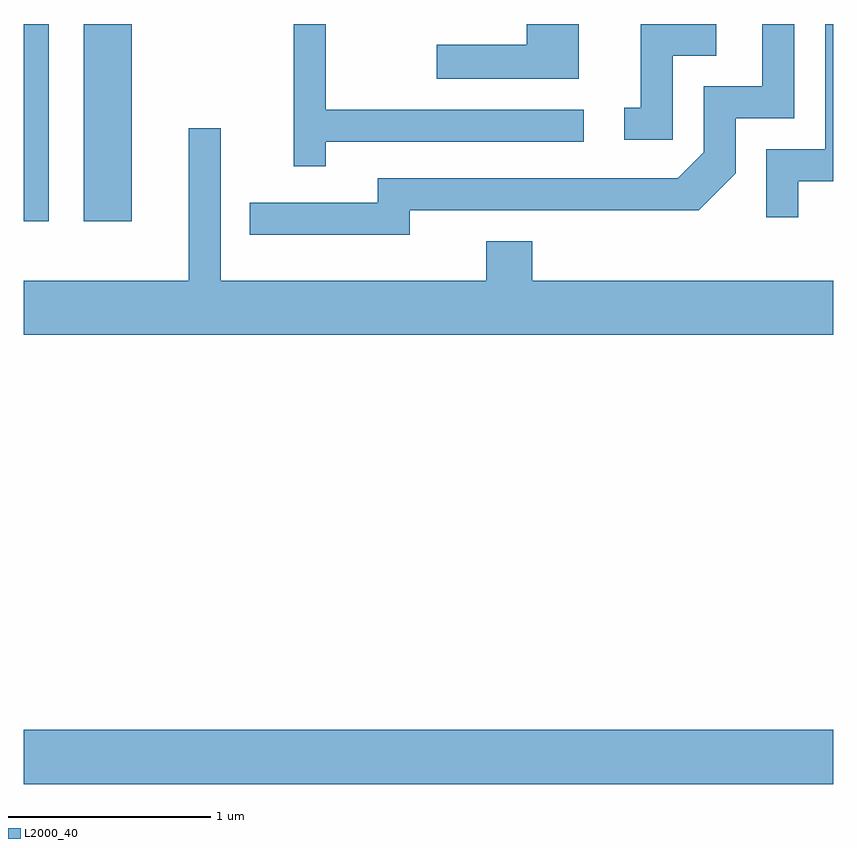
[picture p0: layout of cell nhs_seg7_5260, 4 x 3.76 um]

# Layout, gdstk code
import gdstk
lib = gdstk.Library(unit=1e-6, precision=1e-09)
def R(c, l, rs):  # rectangles x0, y0, x1, y1
    for r in rs: c.add(gdstk.rectangle(r[:2], r[2:], *l))
def P(c, l, *ps):  # polygons
    for p in ps: c.add(gdstk.Polygon(p, *l))
L2000_40 = (2000, 40)

nhs_seg7_5260 = lib.new_cell('nhs_seg7_5260')
R(nhs_seg7_5260, L2000_40, [(345.611,1756.496,349.611,1756.764), (345.611,1759.276,345.734,1760.252), (345.906,1759.276,346.144,1760.252)])
P(nhs_seg7_5260, L2000_40, [(347.519,1759.331),(348.947,1759.331),(349.129,1759.514),(349.129,1759.786),(349.419,1759.786),(349.419,1760.252),(349.261,1760.252),(349.261,1759.944),(348.971,1759.944),(348.971,1759.617),(348.844,1759.489),(347.361,1759.489),(347.361,1759.369),(346.728,1759.369),(346.728,1759.211),(347.519,1759.211)],
  [(347.104,1759.671),(348.378,1759.671),(348.378,1759.829),(347.104,1759.829),(347.104,1760.252),(346.946,1760.252),(346.946,1759.548),(347.104,1759.548)],
  [(348.354,1760.252),(348.096,1760.252),(348.096,1760.149),(347.653,1760.149),(347.653,1759.981),(348.354,1759.981)],
  [(348.819,1760.096),(349.034,1760.096),(349.034,1760.252),(348.661,1760.252),(348.661,1759.839),(348.578,1759.839),(348.578,1759.681),(348.819,1759.681)],
  [(349.439,1759.476),(349.611,1759.476),(349.611,1760.252),(349.571,1760.252),(349.571,1759.634),(349.281,1759.634),(349.281,1759.298),(349.439,1759.298)],
  [(349.611,1758.984),(348.124,1758.984),(348.124,1759.179),(347.896,1759.179),(347.896,1758.984),(346.584,1758.984),(346.584,1759.738),(346.426,1759.738),(346.426,1758.984),(345.611,1758.984),(345.611,1758.716),(349.611,1758.716)])

lib.write_gds('nhs_seg7_5260.gds')
